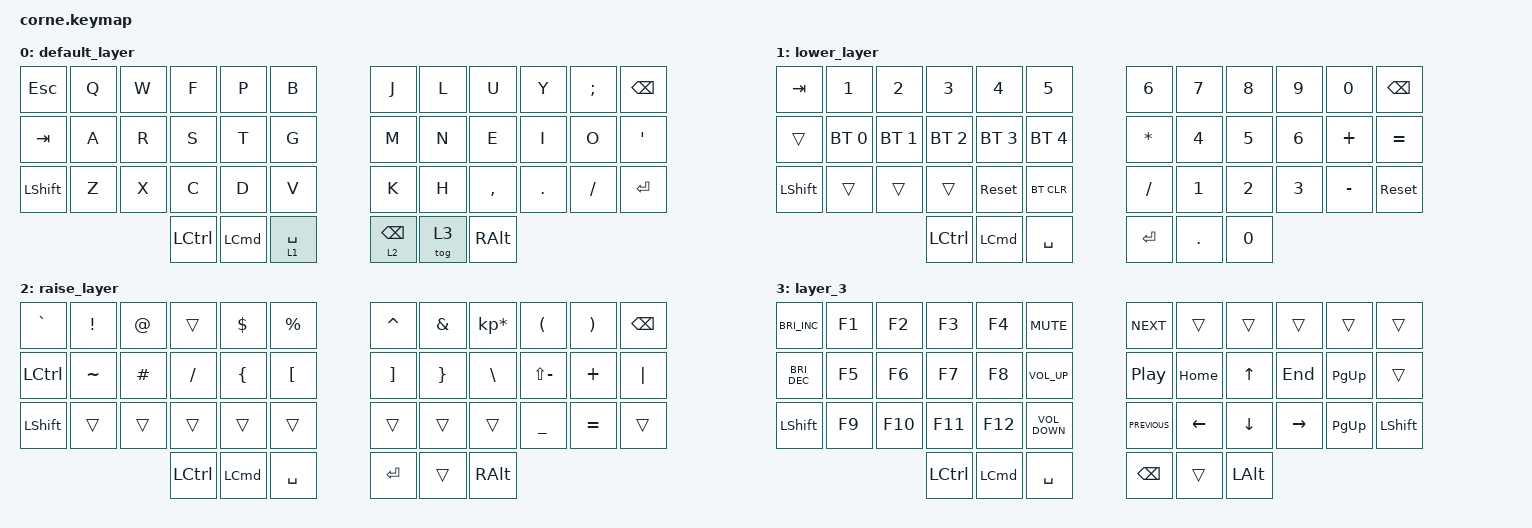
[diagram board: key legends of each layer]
/*
 * Copyright (c) 2020 The ZMK Contributors
 *
 * SPDX-License-Identifier: MIT
 */

#include <behaviors.dtsi>
#include <dt-bindings/zmk/bt.h>
#include <dt-bindings/zmk/keys.h>

/ {
    keymap {
        compatible = "zmk,keymap";

        default_layer {
            // -----------------------------------------------------------------------------------------
            // |  TAB |  Q  |  W  |  E  |  R  |  T  |   |  Y  |  U   |  I  |  O  |  P  | BKSP |
            // | CTRL |  A  |  S  |  D  |  F  |  G  |   |  H  |  J   |  K  |  L  |  ;  |  '   |
            // | SHFT |  Z  |  X  |  C  |  V  |  B  |   |  N  |  M   |  ,  |  .  |  /  | ESC  |
            //                    | GUI | LWR | SPC |   | ENT | RSE  | ALT |

            bindings = <
&kp ESCAPE  &kp Q  &kp W  &kp F             &kp P             &kp B          &kp J            &kp L   &kp U      &kp Y    &kp SEMICOLON  &kp BSPC
&kp TAB     &kp A  &kp R  &kp S             &kp T             &kp G          &kp M            &kp N   &kp E      &kp I    &kp O          &kp SQT
&kp LSHFT   &kp Z  &kp X  &kp C             &kp D             &kp V          &kp K            &kp H   &kp COMMA  &kp DOT  &kp FSLH       &kp ENTER
                          &kp LEFT_CONTROL  &kp LEFT_COMMAND  &lt 1 SPACE    &lt 2 BACKSPACE  &tog 3  &kp RALT
            >;
        };

        lower_layer {
            // -----------------------------------------------------------------------------------------
            // |  TAB |  1  |  2  |  3  |  4  |  5  |   |  6  |  7  |  8  |  9  |  0  | BKSP |
            // | BTCLR| BT1 | BT2 | BT3 | BT4 | BT5 |   | LFT | DWN |  UP | RGT |     |      |
            // | SHFT |     |     |     |     |     |   |     |     |     |     |     |      |
            //                    | GUI |     | SPC |   | ENT |     | ALT |

            bindings = <
&kp TAB    &kp N1        &kp N2        &kp N3            &kp N4            &kp N5          &kp N6        &kp N7        &kp N8        &kp N9        &kp N0     &kp BSPC
&trans     &bt BT_SEL 0  &bt BT_SEL 1  &bt BT_SEL 2      &bt BT_SEL 3      &bt BT_SEL 4    &kp ASTERISK  &kp NUMBER_4  &kp N5        &kp NUMBER_6  &kp PLUS   &kp EQUAL
&kp LSHFT  &trans        &trans        &trans            &sys_reset        &bt BT_CLR      &kp SLASH     &kp NUMBER_1  &kp NUMBER_2  &kp N3        &kp MINUS  &sys_reset
                                       &kp LEFT_CONTROL  &kp LEFT_COMMAND  &kp SPACE       &kp RET       &kp DOT       &kp N0
            >;
        };

        raise_layer {
            // -----------------------------------------------------------------------------------------
            // |  TAB |  !  |  @  |  #  |  $  |  %  |   |  ^  |  &  |  *  |  (  |  )  | BKSP |
            // | CTRL |     |     |     |     |     |   |  -  |  =  |  [  |  ]  |  \  |  `   |
            // | SHFT |     |     |     |     |     |   |  _  |  +  |  {  |  }  | "|" |  ~   |
            //                    | GUI |     | SPC |   | ENT |     | ALT |

            bindings = <
&kp GRAVE  &kp EXCL   &kp AT    &trans            &kp DLLR          &kp PRCNT           &kp CARET          &kp AMPS         &kp KP_MULTIPLY  &kp LPAR        &kp RPAR   &kp BSPC
&kp LCTRL  &kp TILDE  &kp HASH  &kp SLASH         &kp LEFT_BRACE    &kp LEFT_BRACKET    &kp RIGHT_BRACKET  &kp RIGHT_BRACE  &kp BACKSLASH    &kp LS(MINUS)   &kp PLUS   &kp PIPE
&kp LSHFT  &trans     &trans    &trans            &trans            &trans              &trans             &trans           &trans           &kp UNDERSCORE  &kp EQUAL  &trans
                                &kp LEFT_CONTROL  &kp LEFT_COMMAND  &kp SPACE           &kp RET            &trans           &kp RALT
            >;
        };

        layer_3 {
            bindings = <
&kp C_BRI_INC   &kp F1  &kp F2   &kp F3            &kp F4            &kp K_MUTE           &kp C_NEXT        &trans          &trans          &trans           &trans       &trans
&kp C_BRI_DEC   &kp F5  &kp F6   &kp F7            &kp F8            &kp C_VOLUME_UP      &kp C_PLAY_PAUSE  &kp HOME        &kp UP_ARROW    &kp END          &kp PAGE_UP  &trans
&kp LEFT_SHIFT  &kp F9  &kp F10  &kp F11           &kp F12           &kp C_VOLUME_DOWN    &kp C_PREVIOUS    &kp LEFT_ARROW  &kp DOWN_ARROW  &kp RIGHT_ARROW  &kp PAGE_UP  &kp LEFT_SHIFT
                                 &kp LEFT_CONTROL  &kp LEFT_COMMAND  &kp SPACE            &kp BACKSPACE     &trans          &kp LEFT_ALT
            >;
        };
    };
};
